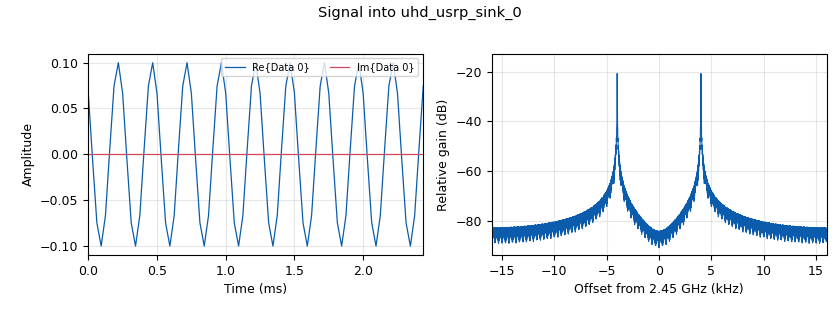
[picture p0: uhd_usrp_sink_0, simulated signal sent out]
options:
  parameters:
    author: trask-smith
    generate_options: qt_gui
    id: Amp_Encoding_Tx
    output_language: python
    title: Not titled yet
  states: {}

blocks:
- name: samp_rate
  id: variable
  parameters:
    value: '32000'
  states: {}
- name: analog_sig_source_x_0
  id: analog_sig_source_x
  parameters:
    amp: '1'
    freq: '100000'
    offset: '0'
    phase: '0'
    samp_rate: samp_rate
    type: float
    waveform: analog.GR_COS_WAVE
  states: {}
- name: blocks_float_to_complex_0
  id: blocks_float_to_complex
  parameters: {}
  states: {}
- name: blocks_multiply_xx_0
  id: blocks_multiply_xx
  parameters:
    type: float
  states: {}
- name: blocks_repeat_0
  id: blocks_repeat
  parameters:
    interp: '1000'
    type: float
  states: {}
- name: blocks_vector_source_x_0
  id: blocks_vector_source_x
  parameters:
    repeat: 'True'
    type: float
    vector: (0.5, 0.1, 0.9)
  states: {}
- name: uhd_usrp_sink_0
  id: uhd_usrp_sink
  parameters:
    ant0: '"TX/RX"'
    bw0: 1e6
    center_freq0: 2.45e9
    dev_addr: '"addr=192.168.10.2"'
    gain0: '2'
    samp_rate: samp_rate
    sd_spec0: B:0
    sync: sync
    type: fc32
  states: {}

connections:
- [analog_sig_source_x_0, '0', blocks_multiply_xx_0, '1']
- [blocks_float_to_complex_0, '0', uhd_usrp_sink_0, '0']
- [blocks_multiply_xx_0, '0', blocks_float_to_complex_0, '0']
- [blocks_repeat_0, '0', blocks_multiply_xx_0, '0']
- [blocks_vector_source_x_0, '0', blocks_repeat_0, '0']

metadata:
  file_format: 1
  grc_version: 3.10.12.0
